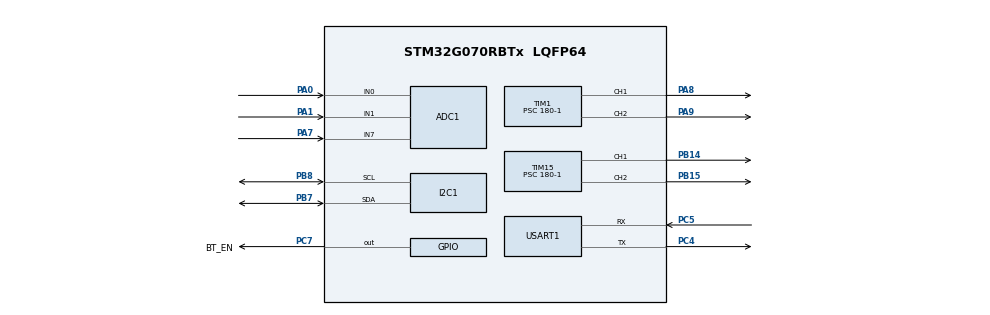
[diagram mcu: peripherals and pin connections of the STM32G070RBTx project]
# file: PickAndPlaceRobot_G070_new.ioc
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ADC1.Channel-0\#ChannelRegularConversion=ADC_CHANNEL_0
ADC1.Channel-1\#ChannelRegularConversion=ADC_CHANNEL_1
ADC1.Channel-2\#ChannelRegularConversion=ADC_CHANNEL_7
ADC1.ContinuousConvMode=ENABLE
ADC1.NbrOfConversion=3
ADC1.NbrOfConversionFlag=1
ADC1.Rank-0\#ChannelRegularConversion=1
ADC1.Rank-1\#ChannelRegularConversion=2
ADC1.Rank-2\#ChannelRegularConversion=3
ADC1.SamplingTime-0\#ChannelRegularConversion=ADC_SAMPLINGTIME_COMMON_1
ADC1.SamplingTime-1\#ChannelRegularConversion=ADC_SAMPLINGTIME_COMMON_1
ADC1.SamplingTime-2\#ChannelRegularConversion=ADC_SAMPLINGTIME_COMMON_1
ADC1.SamplingTimeCommon1=ADC_SAMPLETIME_160CYCLES_5
ADC1.SelectedChannel=ADC_CHANNEL_0|ADC_CHANNEL_1|ADC_CHANNEL_7
ADC1.master=1
Dma.ADC1.2.Direction=DMA_PERIPH_TO_MEMORY
Dma.ADC1.2.EventEnable=DISABLE
Dma.ADC1.2.Instance=DMA1_Channel3
Dma.ADC1.2.MemDataAlignment=DMA_MDATAALIGN_HALFWORD
Dma.ADC1.2.MemInc=DMA_MINC_ENABLE
Dma.ADC1.2.Mode=DMA_NORMAL
Dma.ADC1.2.PeriphDataAlignment=DMA_PDATAALIGN_HALFWORD
Dma.ADC1.2.PeriphInc=DMA_PINC_DISABLE
Dma.ADC1.2.Polarity=HAL_DMAMUX_REQ_GEN_RISING
Dma.ADC1.2.Priority=DMA_PRIORITY_LOW
Dma.ADC1.2.RequestNumber=1
Dma.ADC1.2.SignalID=NONE
Dma.ADC1.2.SyncEnable=DISABLE
Dma.ADC1.2.SyncPolarity=HAL_DMAMUX_SYNC_NO_EVENT
Dma.ADC1.2.SyncRequestNumber=1
Dma.ADC1.2.SyncSignalID=NONE
Dma.Request0=USART1_RX
Dma.Request1=USART1_TX
Dma.Request2=ADC1
Dma.USART1_RX.0.Direction=DMA_PERIPH_TO_MEMORY
Dma.USART1_RX.0.EventEnable=DISABLE
Dma.USART1_RX.0.Instance=DMA1_Channel1
Dma.USART1_RX.0.MemDataAlignment=DMA_MDATAALIGN_BYTE
Dma.USART1_RX.0.MemInc=DMA_MINC_ENABLE
Dma.USART1_RX.0.Mode=DMA_CIRCULAR
Dma.USART1_RX.0.PeriphDataAlignment=DMA_PDATAALIGN_BYTE
Dma.USART1_RX.0.PeriphInc=DMA_PINC_DISABLE
Dma.USART1_RX.0.Polarity=HAL_DMAMUX_REQ_GEN_RISING
Dma.USART1_RX.0.Priority=DMA_PRIORITY_LOW
Dma.USART1_RX.0.RequestNumber=1
Dma.USART1_RX.0.SignalID=NONE
Dma.USART1_RX.0.SyncEnable=DISABLE
Dma.USART1_RX.0.SyncPolarity=HAL_DMAMUX_SYNC_NO_EVENT
Dma.USART1_RX.0.SyncRequestNumber=1
Dma.USART1_RX.0.SyncSignalID=NONE
Dma.USART1_TX.1.Direction=DMA_MEMORY_TO_PERIPH
Dma.USART1_TX.1.EventEnable=DISABLE
Dma.USART1_TX.1.Instance=DMA1_Channel2
Dma.USART1_TX.1.MemDataAlignment=DMA_MDATAALIGN_BYTE
Dma.USART1_TX.1.MemInc=DMA_MINC_ENABLE
Dma.USART1_TX.1.Mode=DMA_NORMAL
Dma.USART1_TX.1.PeriphDataAlignment=DMA_PDATAALIGN_BYTE
Dma.USART1_TX.1.PeriphInc=DMA_PINC_DISABLE
Dma.USART1_TX.1.Polarity=HAL_DMAMUX_REQ_GEN_RISING
Dma.USART1_TX.1.Priority=DMA_PRIORITY_LOW
Dma.USART1_TX.1.RequestNumber=1
Dma.USART1_TX.1.SignalID=NONE
Dma.USART1_TX.1.SyncEnable=DISABLE
Dma.USART1_TX.1.SyncPolarity=HAL_DMAMUX_SYNC_NO_EVENT
Dma.USART1_TX.1.SyncRequestNumber=1
Dma.USART1_TX.1.SyncSignalID=NONE
I2C1.Timing=0x00100F17
Mcu.Family=STM32G0
Mcu.Name=STM32G070RBTx
Mcu.Package=LQFP64
NVIC.ADC1_IRQn=true\:0\:0\:false\:false\:true\:true\:true\:true
NVIC.DMA1_Channel1_IRQn=true\:0\:0\:false\:false\:true\:false\:true\:true
NVIC.DMA1_Channel2_3_IRQn=true\:0\:0\:false\:false\:true\:false\:true\:true
NVIC.TIM15_IRQn=true\:0\:0\:false\:false\:true\:true\:true\:true
NVIC.TIM1_BRK_UP_TRG_COM_IRQn=true\:0\:0\:false\:false\:true\:true\:true\:true
NVIC.TIM1_CC_IRQn=true\:0\:0\:false\:false\:true\:true\:true\:true
NVIC.USART1_IRQn=true\:0\:0\:false\:false\:true\:true\:true\:true
PA0.Mode=IN0
PA0.Signal=ADC1_IN0
PA1.Mode=IN1
PA1.Signal=ADC1_IN1
PA13.Mode=Serial_Wire
PA13.Signal=SYS_SWDIO
PA14-BOOT0.Mode=Serial_Wire
PA14-BOOT0.Signal=SYS_SWCLK
PA7.Mode=IN7
PA7.Signal=ADC1_IN7
PA8.Signal=S_TIM1_CH1
PA9.Signal=S_TIM1_CH2
PB14.Signal=S_TIM15_CH1
PB15.Signal=S_TIM15_CH2
PB7.Mode=I2C
PB7.Signal=I2C1_SDA
PB8.Mode=I2C
PB8.Signal=I2C1_SCL
PC14-OSC32_IN\ (PC14).Mode=LSE-External-Oscillator
PC14-OSC32_IN\ (PC14).Signal=RCC_OSC32_IN
PC15-OSC32_OUT\ (PC15).Mode=LSE-External-Oscillator
PC15-OSC32_OUT\ (PC15).Signal=RCC_OSC32_OUT
PC4.Mode=Asynchronous
PC4.Signal=USART1_TX
PC5.Mode=Asynchronous
PC5.Signal=USART1_RX
PC7.GPIO_Label=BT_EN
PC7.Signal=GPIO_Output
PF0-OSC_IN\ (PF0).Mode=HSE-External-Oscillator
PF0-OSC_IN\ (PF0).Signal=RCC_OSC_IN
PF1-OSC_OUT\ (PF1).Mode=HSE-External-Oscillator
PF1-OSC_OUT\ (PF1).Signal=RCC_OSC_OUT
ProjectManager.HeapSize=0x200
ProjectManager.StackSize=0x400
ProjectManager.TargetToolchain=STM32CubeIDE
RCC.ADCFreq_Value=36000000
RCC.AHBFreq_Value=36000000
RCC.APB1CLKDivider=RCC_HCLK_DIV8
RCC.CortexFreq_Value=36000000
RCC.EXTERNAL_CLOCK_VALUE=48000
RCC.HCLKFreq_Value=36000000
RCC.HSE_VALUE=8000000
RCC.HSI_VALUE=16000000
RCC.PLLN=18
RCC.PLLR=RCC_PLLR_DIV4
RCC.PLLSourceVirtual=RCC_PLLSOURCE_HSE
RCC.SYSCLKFreq_VALUE=36000000
RCC.SYSCLKSource=RCC_SYSCLKSOURCE_PLLCLK
RCC.VCOOutputFreq_Value=144000000
SH.S_TIM15_CH1.0=TIM15_CH1,PWM Generation1 CH1
SH.S_TIM15_CH2.0=TIM15_CH2,PWM Generation2 CH2
SH.S_TIM1_CH1.0=TIM1_CH1,PWM Generation1 CH1
SH.S_TIM1_CH2.0=TIM1_CH2,PWM Generation2 CH2
TIM1.Channel-PWM\ Generation1\ CH1=TIM_CHANNEL_1
TIM1.Channel-PWM\ Generation2\ CH2=TIM_CHANNEL_2
TIM1.Period=1000-1
TIM1.Prescaler=180-1
TIM15.Channel-PWM\ Generation1\ CH1=TIM_CHANNEL_1
TIM15.Channel-PWM\ Generation2\ CH2=TIM_CHANNEL_2
TIM15.Period=1000-1
TIM15.Prescaler=180-1
USART1.VirtualMode-Asynchronous=VM_ASYNC
VP_TIM15_VS_ClockSourceINT.Mode=Internal
VP_TIM1_VS_ClockSourceINT.Mode=Internal
board=custom

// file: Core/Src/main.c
/* USER CODE BEGIN Header */
/**
  ******************************************************************************
  * @file           : main.c
  * @brief          : Main program body
  ******************************************************************************
  * @attention
  *
  * Copyright (c) 2025 STMicroelectronics.
  * All rights reserved.
  *
  * This software is licensed under terms that can be found in the LICENSE file
  * in the root directory of this software component.
  * If no LICENSE file comes with this software, it is provided AS-IS.
  *
  ******************************************************************************
  */
/* USER CODE END Header */
#include "main.h"
#include "adc.h"
#include "dma.h"
#include "i2c.h"
#include "tim.h"
#include "usart.h"
#include "gpio.h"

/* USER CODE BEGIN Includes */
#include "robot_control.h"
/* USER CODE END Includes */

/* USER CODE BEGIN PM */
uint32_t DMA_F=0;
/* USER CODE END PM */

void SystemClock_Config(void);

int main(void)
{

  /* MCU Configuration--------------------------------------------------------*/

  /* Reset of all peripherals, Initializes the Flash interface and the Systick. */
  HAL_Init();

  /* Configure the system clock */
  SystemClock_Config();

  /* Initialize all configured peripherals */
  MX_GPIO_Init();
  MX_DMA_Init();
  MX_TIM1_Init();
  MX_USART1_UART_Init();
  MX_I2C1_Init();
  MX_ADC1_Init();
  MX_TIM15_Init();
  /* USER CODE BEGIN 2 */
  LL_GPIO_SetOutputPin(GPIOC,BT_EN_Pin);

  HAL_TIM_PWM_Start(&htim1, MOTOR_1_CHANNEL);
  HAL_TIM_PWM_Start(&htim1, MOTOR_2_CHANNEL);
  HAL_TIM_PWM_Start(&htim15, MOTOR_3_CHANNEL);
  HAL_TIM_PWM_Start(&htim15, CLAW);

  oledInit();
  HAL_ADC_Start_DMA(&hadc1,(uint32_t *)&ADC_Data,AXIS_NUM);
  uint32_t displayTick=0,setJointTick=0;
  SELF_TEST2();
  /* USER CODE END 2 */

  /* Infinite loop */
  /* USER CODE BEGIN WHILE */
  while (1)
  {
	   while(DMA_F == 0);

	  	HAL_ADC_Start_DMA(&hadc1,(uint32_t *)&ADC_Data,AXIS_NUM);
	  	  DMA_F=0;

  	  if(HAL_GetTick()- displayTick > DISPLAY_TICK)
  	  {
  		displayTick = HAL_GetTick();

  		showData();
  	  }

  	 if(HAL_GetTick()- setJointTick > JOINT_TICK)
  	  {
  		setJointTick = HAL_GetTick();

  		if(robotData.angleChange)
  		{
  		SET_JOINT(&robotData.robotJoint);
  		}
  		if(robotData.endOpFlag)
  		{
  			endOperation(&robotData.robotJoint);
  		}
  	  }

    /* USER CODE END WHILE */

    /* USER CODE BEGIN 3 */
	  	//htim1.Instance->CCR2 = 25;
	  	// HAL_Delay(1500);
	  	// htim1.Instance->CCR2 = 75;
	    // HAL_Delay(1500);
	  	// htim1.Instance->CCR2 = 125;
	  	// HAL_Delay(1500);
	  	// HAL_Delay(1000);
	  	//TIM1 ->CCR2 = ADC_Converted[0];
	  		//TIM15->CCR1 = ADC_Converted[1];
	  		//TIM15->CCR2 = ADC_Converted[2];

  /* USER CODE END 3 */
}
}

void SystemClock_Config(void)
{
  LL_FLASH_SetLatency(LL_FLASH_LATENCY_1);
  while(LL_FLASH_GetLatency() != LL_FLASH_LATENCY_1)
  {
  }

  /* HSE configuration and activation */
  LL_RCC_HSE_Enable();
  while(LL_RCC_HSE_IsReady() != 1)
  {
  }

  /* Main PLL configuration and activation */
  LL_RCC_PLL_ConfigDomain_SYS(LL_RCC_PLLSOURCE_HSE, LL_RCC_PLLM_DIV_1, 18, LL_RCC_PLLR_DIV_4);
  LL_RCC_PLL_Enable();
  LL_RCC_PLL_EnableDomain_SYS();
  while(LL_RCC_PLL_IsReady() != 1)
  {
  }

  /* Set AHB prescaler*/
  LL_RCC_SetAHBPrescaler(LL_RCC_SYSCLK_DIV_1);

  /* Sysclk activation on the main PLL */
  LL_RCC_SetSysClkSource(LL_RCC_SYS_CLKSOURCE_PLL);
  while(LL_RCC_GetSysClkSource() != LL_RCC_SYS_CLKSOURCE_STATUS_PLL)
  {
  }

  /* Set APB1 prescaler*/
  LL_RCC_SetAPB1Prescaler(LL_RCC_APB1_DIV_8);
  /* Update CMSIS variable (which can be updated also through SystemCoreClockUpdate function) */
  LL_SetSystemCoreClock(36000000);

   /* Update the time base */
  if (HAL_InitTick (TICK_INT_PRIORITY) != HAL_OK)
  {
    Error_Handler();
  }
}

void Error_Handler(void)
{
  __disable_irq();
  while (1)
  {
  }
}
